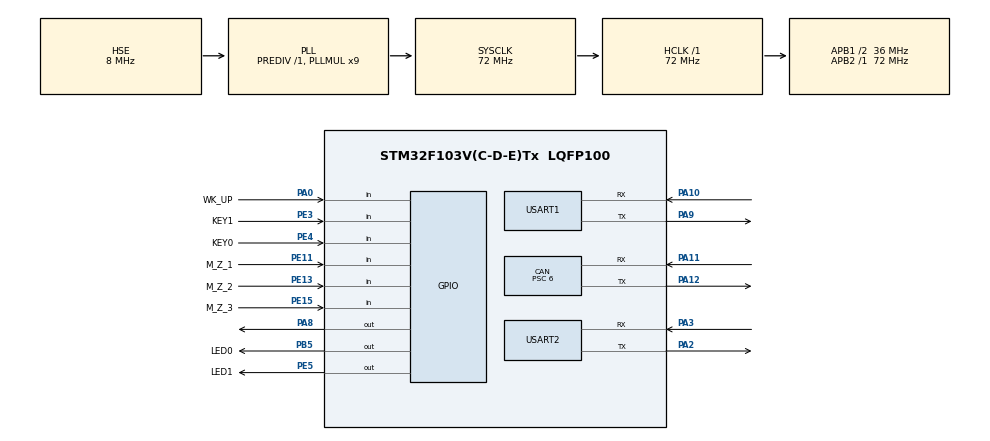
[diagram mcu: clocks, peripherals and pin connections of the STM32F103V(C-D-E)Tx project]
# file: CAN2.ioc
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CAN.BS1=CAN_BS1_3TQ
CAN.BS2=CAN_BS2_2TQ
CAN.CalculateBaudRate=1000000
CAN.CalculateTimeBit=999.99
CAN.CalculateTimeQuantum=166.66666666666669
CAN.Prescaler=6
Dma.Request0=USART1_RX
Dma.Request1=USART1_TX
Dma.USART1_RX.0.Direction=DMA_PERIPH_TO_MEMORY
Dma.USART1_RX.0.Instance=DMA1_Channel5
Dma.USART1_RX.0.MemDataAlignment=DMA_MDATAALIGN_BYTE
Dma.USART1_RX.0.MemInc=DMA_MINC_ENABLE
Dma.USART1_RX.0.Mode=DMA_NORMAL
Dma.USART1_RX.0.PeriphDataAlignment=DMA_PDATAALIGN_BYTE
Dma.USART1_RX.0.PeriphInc=DMA_PINC_DISABLE
Dma.USART1_RX.0.Priority=DMA_PRIORITY_LOW
Dma.USART1_TX.1.Direction=DMA_MEMORY_TO_PERIPH
Dma.USART1_TX.1.Instance=DMA1_Channel4
Dma.USART1_TX.1.MemDataAlignment=DMA_MDATAALIGN_BYTE
Dma.USART1_TX.1.MemInc=DMA_MINC_ENABLE
Dma.USART1_TX.1.Mode=DMA_NORMAL
Dma.USART1_TX.1.PeriphDataAlignment=DMA_PDATAALIGN_BYTE
Dma.USART1_TX.1.PeriphInc=DMA_PINC_DISABLE
Dma.USART1_TX.1.Priority=DMA_PRIORITY_LOW
FREERTOS.Tasks01=defaultTask,24,128,StartDefaultTask,Default,NULL,Dynamic,NULL,NULL;djdf,18,128,StartTask02,Default,NULL,Dynamic,NULL,NULL
Mcu.Family=STM32F1
Mcu.Name=STM32F103V(C-D-E)Tx
Mcu.Package=LQFP100
NVIC.DMA1_Channel4_IRQn=true\:5\:0\:false\:false\:true\:true\:false\:true
NVIC.DMA1_Channel5_IRQn=true\:5\:0\:false\:false\:true\:true\:false\:true
NVIC.PriorityGroup=NVIC_PRIORITYGROUP_4
NVIC.TIM3_IRQn=true\:5\:0\:false\:false\:true\:true\:true\:true
NVIC.TIM4_IRQn=true\:5\:0\:false\:false\:true\:true\:true\:true
NVIC.TIM6_IRQn=true\:5\:0\:false\:false\:true\:true\:true\:true
NVIC.USART1_IRQn=true\:5\:0\:false\:false\:true\:true\:true\:true
NVIC.USB_LP_CAN1_RX0_IRQn=true\:5\:0\:false\:false\:true\:true\:true\:true
OSC_IN.Mode=HSE-External-Oscillator
OSC_IN.Signal=RCC_OSC_IN
OSC_OUT.Mode=HSE-External-Oscillator
OSC_OUT.Signal=RCC_OSC_OUT
PA0-WKUP.GPIO_Label=WK_UP
PA0-WKUP.GPIO_PuPd=GPIO_PULLDOWN
PA0-WKUP.Signal=GPIO_Input
PA10.Mode=Asynchronous
PA10.Signal=USART1_RX
PA11.Mode=CAN_Activate
PA11.Signal=CAN_RX
PA12.Mode=CAN_Activate
PA12.Signal=CAN_TX
PA13.Mode=Serial_Wire
PA13.Signal=SYS_JTMS-SWDIO
PA14.Mode=Serial_Wire
PA14.Signal=SYS_JTCK-SWCLK
PA2.Mode=Asynchronous
PA2.Signal=USART2_TX
PA3.Mode=Asynchronous
PA3.Signal=USART2_RX
PA8.Signal=GPIO_Output
PA9.Mode=Asynchronous
PA9.Signal=USART1_TX
PB5.GPIO_Label=LED0
PB5.GPIO_ModeDefaultOutputPP=GPIO_MODE_OUTPUT_PP
PB5.GPIO_PuPd=GPIO_PULLUP
PB5.GPIO_Speed=GPIO_SPEED_FREQ_HIGH
PB5.PinState=GPIO_PIN_SET
PB5.Signal=GPIO_Output
PE11.GPIO_Label=M_Z_1
PE11.GPIO_PuPd=GPIO_PULLUP
PE11.Signal=GPIO_Input
PE13.GPIO_Label=M_Z_2
PE13.GPIO_PuPd=GPIO_PULLUP
PE13.Signal=GPIO_Input
PE15.GPIO_Label=M_Z_3
PE15.GPIO_PuPd=GPIO_PULLUP
PE15.Signal=GPIO_Input
PE3.GPIO_Label=KEY1
PE3.GPIO_PuPd=GPIO_PULLUP
PE3.Signal=GPIO_Input
PE4.GPIO_Label=KEY0
PE4.GPIO_PuPd=GPIO_PULLUP
PE4.Signal=GPIO_Input
PE5.GPIO_Label=LED1
PE5.GPIO_ModeDefaultOutputPP=GPIO_MODE_OUTPUT_PP
PE5.GPIO_PuPd=GPIO_PULLUP
PE5.GPIO_Speed=GPIO_SPEED_FREQ_HIGH
PE5.PinState=GPIO_PIN_SET
PE5.Signal=GPIO_Output
ProjectManager.HeapSize=0x200
ProjectManager.StackSize=0x400
ProjectManager.TargetToolchain=MDK-ARM V5.27
RCC.AHBFreq_Value=72000000
RCC.APB1CLKDivider=RCC_HCLK_DIV2
RCC.APB1Freq_Value=36000000
RCC.APB1TimFreq_Value=72000000
RCC.APB2Freq_Value=72000000
RCC.APB2TimFreq_Value=72000000
RCC.HCLKFreq_Value=72000000
RCC.PLLMUL=RCC_PLL_MUL9
RCC.PLLSourceVirtual=RCC_PLLSOURCE_HSE
RCC.SYSCLKFreq_VALUE=72000000
RCC.SYSCLKSource=RCC_SYSCLKSOURCE_PLLCLK
RCC.USBFreq_Value=72000000
TIM3.Period=9999
TIM3.Prescaler=7199
TIM4.Period=2000
TIM4.Prescaler=7199
TIM6.Period=1000
TIM6.Prescaler=7199
USART1.VirtualMode=VM_ASYNC
USART2.VirtualMode=VM_ASYNC
VP_FREERTOS_VS_CMSIS_V2.Mode=CMSIS_V2
VP_TIM3_VS_ClockSourceINT.Mode=Internal
VP_TIM4_VS_ClockSourceINT.Mode=Internal
VP_TIM6_VS_ClockSourceINT.Mode=Enable_Timer
board=custom

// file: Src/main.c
/* USER CODE BEGIN Header */
/**
 ******************************************************************************
 * @file           : main.c
 * @brief          : Main program body
 ******************************************************************************
 * @attention
 *
 * <h2><center>&copy; Copyright (c) 2020 STMicroelectronics.
 * All rights reserved.</center></h2>
 *
 * This software component is licensed by ST under BSD 3-Clause license,
 * the "License"; You may not use this file except in compliance with the
 * License. You may obtain a copy of the License at:
 *                        opensource.org/licenses/BSD-3-Clause
 *
 ******************************************************************************
 */
/* USER CODE END Header */
#include "main.h"
#include "cmsis_os.h"
#include "can.h"
#include "dma.h"
#include "tim.h"
#include "usart.h"
#include "gpio.h"

/* USER CODE BEGIN Includes */
#include "dianji.h"
#include "key.h"
#include "ztjs.h"
#define mytrans(a) a / 100.f
/* USER CODE END Includes */

/* USER CODE BEGIN PTD */
int fputc(int ch, FILE *f)
{
  HAL_UART_Transmit(&huart1, (uint8_t *)&ch, 1, 0xffff);
  return ch;
}
/* USER CODE END PTD */

/* USER CODE BEGIN PV */
void running(void);
void test(void);
void pattern(void);
/* USER CODE END PV */

void SystemClock_Config(void);
void MX_FREERTOS_Init(void);
/* USER CODE BEGIN PFP */
float jiaodu_temp[3];
float jiado2[3];
uint8_t data[8] = {0}; // 参数命令数组
uint8_t key = 0;
int Origin_qc4, Origin_qc5, Origin_qc6;
int x, y, z, fl = 100, gravity1 = 400, gravity2 = 410, gravity3 = 300, rst = 0, flag = 1, status = 0;
long Origin_qc1, Origin_qc2, Origin_qc3, electricity1, electricity2, electricity3; //两次编码器差值计算
unsigned char len = 0;
long dif_qc1 = 0, dif_qc2 = 0, dif_qc3 = 0;
// float real_angle1 = 0, real_angle2 = 0, real_angle3 = 0, dif_angle1 = 0, dif_angle2 = 0, dif_angle3 = 0; //推导真实编码器角度
long real_angle1 = 0, real_angle2 = 0, real_angle3 = 0, dif_angle1 = 0, dif_angle2 = 0, dif_angle3 = 0, angle1 = 0, angle2 = 0, angle3 = 0; //推导真实编码器角度
long rst_qc1, rst_qc2, rst_qc3;                                                                                                             //复位编码器qc
double man[7];
unsigned char flag_tp = 1;
unsigned char mode;
unsigned char flag_tx = 0;
uint32_t ID = 0;
uint16_t encoder_4 = 0, encoder_5 = 0, encoder_6 = 0;
uint16_t angle_4, angle_5, angle_6;
uint8_t Rxd_Data[8]; // can中断接收数组（全局变量）
uint8_t flag1 = 1, flag2 = 1, flag3 = 1;
// unsigned char falg_m1;
// unsigned char falg_m2;
// unsigned char falg_m3;
/* USER CODE END PFP */

/* USER CODE BEGIN 0 */
void HAL_TIM_PeriodElapsedCallback(TIM_HandleTypeDef *htim)
{
  if (htim->Instance == TIM3) // 1s
  {

    HAL_GPIO_TogglePin(LED0_GPIO_Port, LED0_Pin);
  }
  if (htim->Instance == TIM4) // 20ms
  {

    // running();
    // HAL_GPIO_TogglePin(LED0_GPIO_Port, LED0_Pin);
  }
  if (htim->Instance == TIM6) // 10ms
  {
    flag_tx++;
    if (flag_tx == 1) //无法同时接收三个数据，只能两个两个发
    {
      Read_Angle_Cmd(4);
    }
    else if (flag_tx == 2)
    {
      Read_Angle_Cmd(6);
    }
    else if (flag_tx == 3)
    {
      flag_tx = 0;
      Read_Angle_Cmd(5);
    }
  }
}

void mysprintf_toHMI()
{
  char x_str[100], t4_str[100];
  uint8_t end_hex[] = {0xff, 0xff, 0xff};
  sprintf(x_str, "t3.txt=\"x:%0.2f y:%0.2f z:%0.2f\"", PM.x0, PM.y0, PM.z0 + 100);
  int num = 0;
  while (x_str[num] != '\0')
  {
    num++;
  }
  HAL_UART_Transmit(&huart2, (uint8_t *)x_str, num, 0xff);
  HAL_UART_Transmit(&huart2, end_hex, 3, 0xffff);

  sprintf(t4_str, "t4.txt=\"roll:%0.2f pitch:%0.2f yaw:%0.2f \"", (angle_6 - Origin_qc6) / 100.0f,
          (angle_5 - Origin_qc5) / 100.0f,
          (angle_4 - Origin_qc4) / 100.0f);
  int num1 = 0;
  while (t4_str[num1] != '\0')
  {
    num1++;
  }
  HAL_UART_Transmit(&huart2, (uint8_t *)t4_str, num1, 0xff);
  HAL_UART_Transmit(&huart2, end_hex, 3, 0xffff);
}

/* USER CODE END 0 */

int main(void)
{

  /* MCU Configuration--------------------------------------------------------*/

  /* Reset of all peripherals, Initializes the Flash interface and the Systick. */
  HAL_Init();

  /* Configure the system clock */
  SystemClock_Config();

  /* Initialize all configured peripherals */
  MX_GPIO_Init();
  MX_DMA_Init();
  MX_CAN_Init();
  MX_USART1_UART_Init();
  MX_TIM3_Init();
  MX_TIM4_Init();
  MX_TIM6_Init();
  MX_USART2_UART_Init();
  /* USER CODE BEGIN 2 */
  HAL_GPIO_WritePin(LED1_GPIO_Port, LED1_Pin, GPIO_PIN_RESET);
  printf("-----------------设备初始化中-----------\n");
  HAL_CAN_Start(&hcan);
  CAN1_Config();                                                    //设置滤波
  HAL_CAN_ActivateNotification(&hcan, CAN_IT_RX_FIFO0_MSG_PENDING); // Enable interrupts
  printf("-----------------CAN通信初始化成功-----------\n");

  CAN_RoboModule_DRV_Reset(0, 0);                              //对0组所有驱动器进行复位
  HAL_Delay(500);                                              //发送复位指令后的延时必须要有，等待驱动器再次初始化完成
  CAN_RoboModule_DRV_Config(0, 1, 15, 0);                      // 1号驱动器配置为15ms传回一次数据
  HAL_Delay(200);                                              //此处延时为了不让传回数据时候4个不一起传
  CAN_RoboModule_DRV_Config(0, 2, 15, 0);                      // 2号驱动器配置为15ms传回一次数据
  HAL_Delay(200);                                              //此处延时为了不让传回数据时候4个不一起传
  CAN_RoboModule_DRV_Config(0, 3, 15, 0);                      // 3号驱动器配置为15ms传回一次数据
  CAN_RoboModule_DRV_Mode_Choice(0, 0, Current_Position_Mode); // 0组的所有驱动器 都进入电流位置模式
  HAL_Delay(500);                                              //发送模式选择指令后，要等待驱动器进入模式就绪。所以延时也不可以去掉。
  /*********************************************+*************************************/
  Origin_qc1 = Real_Position_Value[0]; //记录初始位置
  Origin_qc2 = Real_Position_Value[1];
  Origin_qc3 = Real_Position_Value[2];
  Read_Angle_Cmd(4);
  HAL_Delay(100);
  Read_Angle_Cmd(6);
  HAL_Delay(100);
  Read_Angle_Cmd(5);
  HAL_Delay(100);
  Origin_qc4 = angle_4;
  Origin_qc5 = angle_5;
  Origin_qc6 = angle_6;
  rst_qc1 = Origin_qc1;
  rst_qc2 = Origin_qc2;
  rst_qc3 = Origin_qc3;
  jiaodu_temp[0] = angle_4 / 100.0f;
  jiaodu_temp[1] = angle_5 / 100.0f;
  jiaodu_temp[2] = angle_6 / 100.0f;
  //控制上面三个电机
  // Close_Clear_Cmd(4);
  // Close_Clear_Cmd(5);
  // Close_Clear_Cmd(6);

  /* USER CODE END 2 */

  /* Init scheduler */
  osKernelInitialize();  /* Call init function for freertos objects (in freertos.c) */
  MX_FREERTOS_Init();
  /* Start scheduler */
  osKernelStart();

  /* We should never get here as control is now taken by the scheduler */
  /* Infinite loop */
  /* USER CODE BEGIN WHILE */
  // int num_postion1=0,num_postion2=0,num_postion3=0;
  /*************以下while(1)是平台初始化调平的动作 通过光电传感器反馈检测其水平 *****************/
  //		while(1){
  //			 if(M_Z_1 == 1 && M_Z_2 == 1 && M_Z_3 == 1)
  //			 {
  //				 break;
  //			 }
  //			 //printf("%ld  %ld %ld\r\n",Real_Position_Value[0],Real_Position_Value[1],Real_Position_Value[2]);
  //			 if(M_Z_1==1){
  //				  CAN_RoboModule_DRV_Current_Position_Mode(0, 0, 2000, num_postion1);
  //			 }
  //			 else{
  //				  CAN_RoboModule_DRV_Current_Position_Mode(0, 0, 2000, num_postion1);
  //				  num_postion1+=5;
  //			 }
  //			  if(M_Z_2==1){
  //				  CAN_RoboModule_DRV_Current_Position_Mode(0, 1, 2000, num_postion2);
  //			 }
  //			 else{
  //				  CAN_RoboModule_DRV_Current_Position_Mode(0, 1, 2000, num_postion2);
  //				  num_postion2+=5;
  //			 }//			  if(M_Z_3==1){
  //				  CAN_RoboModule_DRV_Current_Position_Mode(0, 3, 2000, num_postion3);
  //			 }
  //			 else{
  //				  CAN_RoboModule_DRV_Current_Position_Mode(0, 3, 2000, num_postion3);
  //				  num_postion3+=5;
  //			 }
  //			 HAL_Delay(10);
  //		}
  rst_qc1 = Real_Position_Value[0]; //记录复位水平位置的编码器数量
  rst_qc2 = Real_Position_Value[1];
  rst_qc3 = Real_Position_Value[2];
  HAL_TIM_Base_Start_IT(&htim6); //开启定时器6中断
  printf("-----------------设备初始化成功-----------\n");
  while (1)
  {
    /* USER CODE END WHILE */

    /* USER CODE BEGIN 3 */

    run();             //位置解算 并通过usart1 发送给上位机vr
    test();            // test();//该函数用于发给pc打印坐标
    mysprintf_toHMI(); //将坐标发送个串口屏
                       // printf("angle_4:%ld  angle_5:%ld angle_6:%ld\r\n\r\n", angle_4,angle_5,angle_6);
    //  Read_Angle_Cmd(4);
    //  HAL_Delay(100);
    //   Read_Angle_Cmd(6);
    // printf("%d  %d  %d %d\r\n",encoder_5,encoder_5,encoder_6,speed4);
    /*****************以下通过按键来选择模式***********************/
    key = KEY_Scan(0); //得到键值
    switch (key)
    {
    case KEY0_PRES:
      flag = !flag;
      mode = 1;
      // HAL_GPIO_WritePin(LED1_GPIO_Port, LED1_Pin,GPIO_PIN_RESET);
      HAL_GPIO_TogglePin(LED1_GPIO_Port, LED1_Pin);
      break;
    case KEY1_PRES:
      //__enable_irq();//打开所有中断
      mode = 2;
      break;
    case WKUP_PRES:
      mode = 3;
      break;
    }
    pattern(); //根据不同的模式给电机发指令
               // zitaijiesuan((angle_6 - Origin_qc6) / 100, (angle_5 - Origin_qc5) / 100, (angle_4 - Origin_qc4) / 100); //上面三个自由度的解算
  }
  /* USER CODE END 3 */
}

void SystemClock_Config(void)
{
  RCC_OscInitTypeDef RCC_OscInitStruct = {0};
  RCC_ClkInitTypeDef RCC_ClkInitStruct = {0};

  /** Initializes the RCC Oscillators according to the specified parameters
  * in the RCC_OscInitTypeDef structure.
  */
  RCC_OscInitStruct.OscillatorType = RCC_OSCILLATORTYPE_HSE;
  RCC_OscInitStruct.HSEState = RCC_HSE_ON;
  RCC_OscInitStruct.HSEPredivValue = RCC_HSE_PREDIV_DIV1;
  RCC_OscInitStruct.HSIState = RCC_HSI_ON;
  RCC_OscInitStruct.PLL.PLLState = RCC_PLL_ON;
  RCC_OscInitStruct.PLL.PLLSource = RCC_PLLSOURCE_HSE;
  RCC_OscInitStruct.PLL.PLLMUL = RCC_PLL_MUL9;
  if (HAL_RCC_OscConfig(&RCC_OscInitStruct) != HAL_OK)
  {
    Error_Handler();
  }
  /** Initializes the CPU, AHB and APB buses clocks
  */
  RCC_ClkInitStruct.ClockType = RCC_CLOCKTYPE_HCLK|RCC_CLOCKTYPE_SYSCLK
                              |RCC_CLOCKTYPE_PCLK1|RCC_CLOCKTYPE_PCLK2;
  RCC_ClkInitStruct.SYSCLKSource = RCC_SYSCLKSOURCE_PLLCLK;
  RCC_ClkInitStruct.AHBCLKDivider = RCC_SYSCLK_DIV1;
  RCC_ClkInitStruct.APB1CLKDivider = RCC_HCLK_DIV2;
  RCC_ClkInitStruct.APB2CLKDivider = RCC_HCLK_DIV1;

  if (HAL_RCC_ClockConfig(&RCC_ClkInitStruct, FLASH_LATENCY_2) != HAL_OK)
  {
    Error_Handler();
  }
}

/* USER CODE BEGIN 4 */

void test()
{
  printf("X:%0.2f Y:%0.2f Z:%0.2f \r\n", PM.x0, PM.y0, PM.z0);
  printf("roll:%0.2f pitch :%0.2f yaw:%0.2f \r\n", (angle_6 - Origin_qc6) / 100.0f,
         (angle_5 - Origin_qc5) / 100.0f,
         (angle_4 - Origin_qc4) / 100.0f);
}
void running()
{
  if (flag == 0) //按key_0切换为运行模式，将数值传至上位机，运行阶段
  {

    //得到差值并保存
    dif_qc1 = Real_Position_Value[0] - Origin_qc1;
    // Origin_qc1=Real_Position_Value[0];
    dif_qc2 = Real_Position_Value[1] - Origin_qc2;
    // Origin_qc2= Real_Position_Value[1];
    dif_qc3 = Real_Position_Value[2] - Origin_qc3;
    //	Origin_qc3= Real_Position_Value[2];
    //得到真实角度差
    dif_angle1 = dif_qc1 * 0.18;
    dif_angle2 = dif_qc2 * 0.18;
    dif_angle3 = dif_qc3 * 0.18;
    //计算真实角度
    real_angle1 = dif_angle1;
    real_angle2 = dif_angle2;
    real_angle3 = dif_angle3;
    delta_calcForward(real_angle1 / 13.3 + 31.4, real_angle2 / 13.3 + 31.4, real_angle3 / 13.3 + 31.4);
    DATE();
    printf("%010d\n", str);
  }
}
void pattern()
{
  if (mode == 1)
  {
    map(); //位置和电流的运算 用于补偿重力
    CAN_RoboModule_DRV_Current_Position_Mode(0, 1, gravity1 + 200, Origin_qc1 + 4000);
    CAN_RoboModule_DRV_Current_Position_Mode(0, 2, gravity2 + 200, Origin_qc2 + 4000);
    CAN_RoboModule_DRV_Current_Position_Mode(0, 3, gravity3 + 200, Origin_qc3 + 4000);
  }
  else if (mode == 2)
  { //悬停

    CAN_RoboModule_DRV_Current_Position_Mode(0, 1, 4000, Real_Position_Value[0]);
    CAN_RoboModule_DRV_Current_Position_Mode(0, 2, 4000, Real_Position_Value[0]);
    CAN_RoboModule_DRV_Current_Position_Mode(0, 3, 4000, Real_Position_Value[0]);
  }
  else if (mode == 3)
  { //归位
    CAN_RoboModule_DRV_Current_Position_Mode(0, 1, 4000, rst_qc1);
    CAN_RoboModule_DRV_Current_Position_Mode(0, 2, 4000, rst_qc2);
    CAN_RoboModule_DRV_Current_Position_Mode(0, 3, 4000, rst_qc3);
  }
  else
    return;
}

/* USER CODE END 4 */

void Error_Handler(void)
{
}

/************************ (C) COPYRIGHT STMicroelectronics *****END OF FILE****/

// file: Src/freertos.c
/* USER CODE BEGIN Header */
/**
  ******************************************************************************
  * File Name          : freertos.c
  * Description        : Code for freertos applications
  ******************************************************************************
  * @attention
  *
  * <h2><center>&copy; Copyright (c) 2021 STMicroelectronics.
  * All rights reserved.</center></h2>
  *
  * This software component is licensed by ST under Ultimate Liberty license
  * SLA0044, the "License"; You may not use this file except in compliance with
  * the License. You may obtain a copy of the License at:
  *                             www.st.com/SLA0044
  *
  ******************************************************************************
  */
/* USER CODE END Header */

#include "FreeRTOS.h"
#include "task.h"
#include "main.h"
#include "cmsis_os.h"

/* Definitions for defaultTask */
osThreadId_t defaultTaskHandle;
const osThreadAttr_t defaultTask_attributes = {
  .name = "defaultTask",
  .priority = (osPriority_t) osPriorityNormal,
  .stack_size = 128 * 4
};
/* Definitions for djdf */
osThreadId_t djdfHandle;
const osThreadAttr_t djdf_attributes = {
  .name = "djdf",
  .priority = (osPriority_t) osPriorityBelowNormal2,
  .stack_size = 128 * 4
};

void StartDefaultTask(void *argument);
void StartTask02(void *argument);

void MX_FREERTOS_Init(void); /* (MISRA C 2004 rule 8.1) */

void MX_FREERTOS_Init(void) {

  /* Create the thread(s) */
  /* creation of defaultTask */
  defaultTaskHandle = osThreadNew(StartDefaultTask, NULL, &defaultTask_attributes);

  /* creation of djdf */
  djdfHandle = osThreadNew(StartTask02, NULL, &djdf_attributes);

}

void StartDefaultTask(void *argument)
{
  for(;;)
  {
    osDelay(1);
  }
}

void StartTask02(void *argument)
{
  for(;;)
  {
    osDelay(1);
  }
}

/************************ (C) COPYRIGHT STMicroelectronics *****END OF FILE****/
